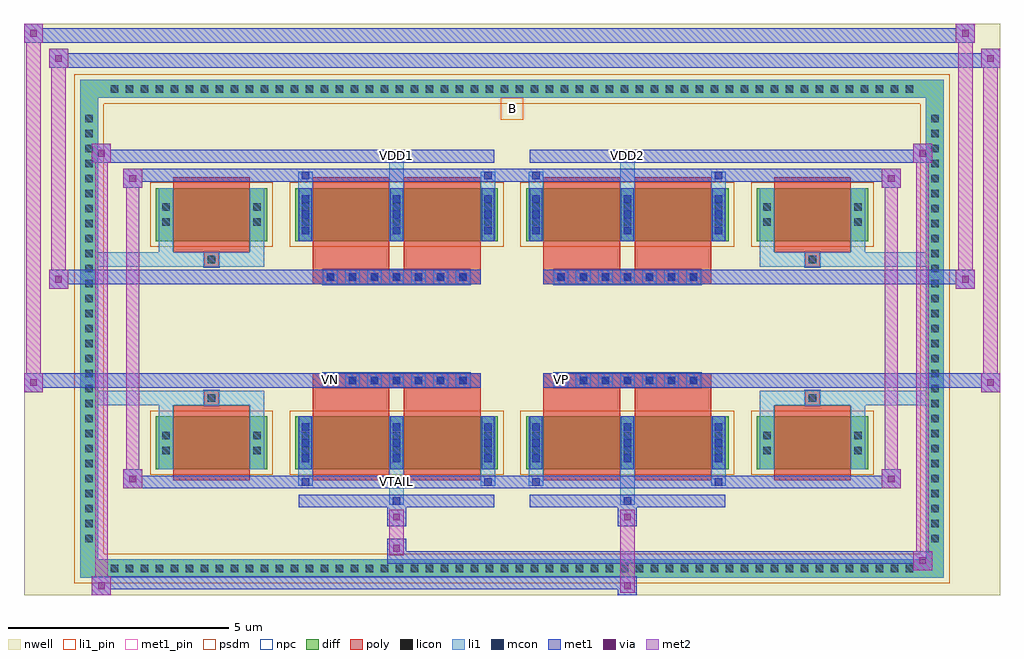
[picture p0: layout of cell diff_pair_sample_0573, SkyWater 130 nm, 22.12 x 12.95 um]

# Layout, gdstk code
import gdstk
lib = gdstk.Library(unit=1e-6, precision=5e-09)
def R(c, l, rs):  # rectangles x0, y0, x1, y1
    for r in rs: c.add(gdstk.rectangle(r[:2], r[2:], *l))
def A(c, l, x, y, w, h, nx, ny, dx, dy):  # array of equal rectangles
    R(c, l, [(x+i*dx, y+j*dy, x+i*dx+w, y+j*dy+h) for i in range(nx) for j in range(ny)])
def P(c, l, *ps):  # polygons
    for p in ps: c.add(gdstk.Polygon(p, *l))
nwell = (64, 20)
diff = (65, 20)
poly = (66, 20)
licon = (66, 44)
li1_pin = (67, 16)
li1 = (67, 20)
mcon = (67, 44)
met1_pin = (68, 16)
met1 = (68, 20)
via = (68, 44)
met2 = (69, 20)
psdm = (94, 20)
npc = (95, 20)

diff_pair_sample_0573 = lib.new_cell('diff_pair_sample_0573')
R(diff_pair_sample_0573, nwell, [(-11.06,-6.04,11.06,6.91), (-8.38,-4.23,-0.01,-0.805), (0.01,-4.23,8.38,-0.805), (-8.38,0.805,-0.01,4.23), (0.01,0.805,8.38,4.23)])
A(diff_pair_sample_0573, diff, -9.215, -5.64, 0.41, 0.41, 54, 2, 0.34, 10.87)
A(diff_pair_sample_0573, diff, -9.79, -4.965, 0.41, 0.41, 1, 29, 0, 0.34)
A(diff_pair_sample_0573, diff, 9.38, -4.965, 0.41, 0.41, 1, 29, 0, 0.34)
R(diff_pair_sample_0573, diff, [(-9.215,-5.64,9.215,-5.23), (-9.79,-4.965,-9.38,4.965), (9.38,-4.965,9.79,4.965), (-8.07,-3.185,-5.55,-1.985), (-4.91,-3.185,-0.32,-1.985), (0.32,-3.185,4.91,-1.985), (5.55,-3.185,8.07,-1.985), (-8.07,1.985,-5.55,3.185), (-4.91,1.985,-0.32,3.185), (0.32,1.985,4.91,3.185), (5.55,1.985,8.07,3.185), (-9.215,5.23,9.215,5.64)])
P(diff_pair_sample_0573, diff, [(9.79,5.64),(-9.79,5.64),(-9.79,-5.23),(-9.38,-5.23),(-9.38,5.23),(9.38,5.23),(9.38,-5.23),(-9.38,-5.23),(-9.79,-5.23),(-9.79,-5.64),(9.79,-5.64)])
A(diff_pair_sample_0573, poly, -4.28, -1.335, 0.33, 0.33, 7, 2, 0.5, 2.34)
A(diff_pair_sample_0573, poly, 0.95, -1.335, 0.33, 0.33, 7, 2, 0.5, 2.34)
R(diff_pair_sample_0573, poly, [(-7.68,-3.435,-5.94,-1.735), (-4.52,-3.435,-2.78,-1.735), (-2.45,-3.435,-0.71,-1.735), (0.71,-3.435,2.45,-1.735), (2.78,-3.435,4.52,-1.735), (5.94,-3.435,7.68,-1.735), (-6.975,-1.735,-6.645,-1.405), (-6.975,-1.735,-6.645,-1.405), (-4.52,-1.735,-2.78,-1.335), (-2.45,-1.735,-0.71,-1.335), (0.71,-1.735,2.45,-1.335), (2.78,-1.735,4.52,-1.335), (6.645,-1.735,6.975,-1.405), (6.645,-1.735,6.975,-1.405), (-4.52,-1.335,-0.71,-1.005), (0.71,-1.335,4.52,-1.005), (-4.52,1.005,-0.71,1.335), (0.71,1.005,4.52,1.335), (-4.52,1.335,-2.78,1.735), (-2.45,1.335,-0.71,1.735), (0.71,1.335,2.45,1.735), (2.78,1.335,4.52,1.735), (-6.975,1.405,-6.645,1.735), (-6.975,1.405,-6.645,1.735), (6.645,1.405,6.975,1.735), (6.645,1.405,6.975,1.735), (-7.68,1.735,-5.94,3.435), (-4.52,1.735,-2.78,3.435), (-2.45,1.735,-0.71,3.435), (0.71,1.735,2.45,3.435), (2.78,1.735,4.52,3.435), (5.94,1.735,7.68,3.435)])
A(diff_pair_sample_0573, licon, -9.095, -5.52, 0.17, 0.17, 54, 2, 0.34, 10.87)
A(diff_pair_sample_0573, licon, -9.67, -4.845, 0.17, 0.17, 1, 29, 0, 0.34)
A(diff_pair_sample_0573, licon, 9.5, -4.845, 0.17, 0.17, 1, 29, 0, 0.34)
A(diff_pair_sample_0573, licon, -4.77, -2.84, 0.17, 0.17, 3, 2, 2.07, 0.34)
A(diff_pair_sample_0573, licon, 0.46, -2.84, 0.17, 0.17, 3, 2, 2.07, 0.34)
A(diff_pair_sample_0573, licon, -4.2, -1.255, 0.17, 0.17, 7, 2, 0.5, 2.34)
A(diff_pair_sample_0573, licon, 1.03, -1.255, 0.17, 0.17, 7, 2, 0.5, 2.34)
A(diff_pair_sample_0573, licon, -4.77, 2.33, 0.17, 0.17, 3, 2, 2.07, 0.34)
A(diff_pair_sample_0573, licon, 0.46, 2.33, 0.17, 0.17, 3, 2, 2.07, 0.34)
R(diff_pair_sample_0573, licon, [(-7.93,-2.84,-7.76,-2.67), (-5.86,-2.84,-5.69,-2.67), (5.69,-2.84,5.86,-2.67), (7.76,-2.84,7.93,-2.67), (-7.93,-2.5,-7.76,-2.33), (-5.86,-2.5,-5.69,-2.33), (5.69,-2.5,5.86,-2.33), (7.76,-2.5,7.93,-2.33), (-6.895,-1.655,-6.725,-1.485), (6.725,-1.655,6.895,-1.485), (-6.895,1.485,-6.725,1.655), (6.725,1.485,6.895,1.655), (-7.93,2.33,-7.76,2.5), (-5.86,2.33,-5.69,2.5), (5.69,2.33,5.86,2.5), (7.76,2.33,7.93,2.5), (-7.93,2.67,-7.76,2.84), (-5.86,2.67,-5.69,2.84), (5.69,2.67,5.86,2.84), (7.76,2.67,7.93,2.84)])
R(diff_pair_sample_0573, li1_pin, [(-0.25,4.73,0.25,5.23)])
A(diff_pair_sample_0573, li1, -9.175, -5.6, 0.33, 0.33, 54, 2, 0.34, 10.87)
A(diff_pair_sample_0573, li1, -9.75, -4.925, 0.33, 0.33, 1, 29, 0, 0.34)
A(diff_pair_sample_0573, li1, 9.42, -4.925, 0.33, 0.33, 1, 29, 0, 0.34)
A(diff_pair_sample_0573, li1, -4.85, -3.185, 0.33, 1.2, 3, 2, 2.07, 5.17)
A(diff_pair_sample_0573, li1, 0.38, -3.185, 0.33, 1.2, 3, 2, 2.07, 5.17)
A(diff_pair_sample_0573, li1, -4.77, -3.03, 0.17, 0.17, 3, 3, 2.07, 0.36)
A(diff_pair_sample_0573, li1, -4.77, -3.03, 0.17, 0.89, 3, 2, 2.07, 5.17)
A(diff_pair_sample_0573, li1, 0.46, -3.03, 0.17, 0.17, 3, 3, 2.07, 0.36)
A(diff_pair_sample_0573, li1, 0.46, -3.03, 0.17, 0.89, 3, 2, 2.07, 5.17)
A(diff_pair_sample_0573, li1, -4.85, -2.92, 0.33, 0.33, 3, 2, 2.07, 0.34)
A(diff_pair_sample_0573, li1, 0.38, -2.92, 0.33, 0.33, 3, 2, 2.07, 0.34)
A(diff_pair_sample_0573, li1, -4.28, -1.335, 0.33, 0.33, 7, 2, 0.5, 2.34)
A(diff_pair_sample_0573, li1, 0.95, -1.335, 0.33, 0.33, 7, 2, 0.5, 2.34)
A(diff_pair_sample_0573, li1, -4.77, 2.14, 0.17, 0.17, 3, 3, 2.07, 0.36)
A(diff_pair_sample_0573, li1, 0.46, 2.14, 0.17, 0.17, 3, 3, 2.07, 0.36)
A(diff_pair_sample_0573, li1, -4.85, 2.25, 0.33, 0.33, 3, 2, 2.07, 0.34)
A(diff_pair_sample_0573, li1, 0.38, 2.25, 0.33, 0.33, 3, 2, 2.07, 0.34)
R(diff_pair_sample_0573, li1, [(-9.79,-5.64,-9.38,-5.23), (-9.79,-5.64,-9.38,-5.23), (-9.38,-5.64,9.38,-5.23), (9.38,-5.64,9.79,-5.23), (9.38,-5.64,9.79,-5.23), (-9.79,-5.23,-9.38,5.23), (9.38,-5.23,9.79,5.23), (-2.78,-3.99,-2.45,-3.185), (-2.7,-3.99,-2.53,-3.82), (2.45,-3.99,2.78,-3.185), (2.53,-3.99,2.7,-3.82), (-4.85,-3.56,-4.52,-3.185), (-4.77,-3.56,-4.6,-3.39), (-0.71,-3.56,-0.38,-3.185), (-0.63,-3.56,-0.46,-3.39), (0.38,-3.56,0.71,-3.185), (0.46,-3.56,0.63,-3.39), (4.52,-3.56,4.85,-3.185), (4.6,-3.56,4.77,-3.39), (-8.01,-3.185,-7.68,-1.985), (-5.94,-3.185,-5.61,-1.985), (5.61,-3.185,5.94,-1.985), (7.68,-3.185,8.01,-1.985), (-8.01,-2.92,-7.68,-2.59), (-5.94,-2.92,-5.61,-2.59), (5.61,-2.92,5.94,-2.59), (7.68,-2.92,8.01,-2.59), (-8.01,-2.58,-7.68,-2.25), (-5.94,-2.58,-5.61,-2.25), (5.61,-2.58,5.94,-2.25), (7.68,-2.58,8.01,-2.25), (-8.01,-1.985,-7.68,-1.405), (-5.94,-1.985,-5.61,-1.405), (5.61,-1.985,5.94,-1.405), (7.68,-1.985,8.01,-1.405), (-9.79,-1.735,-6.975,-1.405), (-8.01,-1.735,-6.975,-1.405), (-6.975,-1.735,-6.645,-1.405), (-6.645,-1.735,-5.61,-1.405), (5.61,-1.735,6.645,-1.405), (6.645,-1.735,6.975,-1.405), (6.645,-1.735,9.79,-1.405), (6.975,-1.735,8.01,-1.405), (-9.79,1.405,-6.975,1.735), (-8.01,1.405,-6.975,1.735), (-8.01,1.405,-7.68,1.985), (-6.975,1.405,-6.645,1.735), (-6.645,1.405,-5.61,1.735), (-5.94,1.405,-5.61,1.985), (5.61,1.405,6.645,1.735), (5.61,1.405,5.94,1.985), (6.645,1.405,6.975,1.735), (6.645,1.405,9.79,1.735), (6.975,1.405,8.01,1.735), (7.68,1.405,8.01,1.985), (-8.01,1.985,-7.68,3.185), (-5.94,1.985,-5.61,3.185), (5.61,1.985,5.94,3.185), (7.68,1.985,8.01,3.185), (-8.01,2.25,-7.68,2.58), (-5.94,2.25,-5.61,2.58), (5.61,2.25,5.94,2.58), (7.68,2.25,8.01,2.58), (-8.01,2.59,-7.68,2.92), (-5.94,2.59,-5.61,2.92), (5.61,2.59,5.94,2.92), (7.68,2.59,8.01,2.92), (-4.85,3.185,-4.52,3.56), (-2.78,3.185,-2.45,3.99), (-0.71,3.185,-0.38,3.56), (0.38,3.185,0.71,3.56), (2.45,3.185,2.78,3.99), (4.52,3.185,4.85,3.56), (-4.77,3.39,-4.6,3.56), (-0.63,3.39,-0.46,3.56), (0.46,3.39,0.63,3.56), (4.6,3.39,4.77,3.56), (-2.7,3.82,-2.53,3.99), (2.53,3.82,2.7,3.99), (-9.79,5.23,-9.38,5.64), (-9.79,5.23,-9.38,5.64), (-9.38,5.23,9.38,5.64), (9.38,5.23,9.79,5.64), (9.38,5.23,9.79,5.64)])
A(diff_pair_sample_0573, mcon, -4.77, -3.03, 0.17, 0.17, 3, 3, 2.07, 0.36)
A(diff_pair_sample_0573, mcon, 0.46, -3.03, 0.17, 0.17, 3, 3, 2.07, 0.36)
A(diff_pair_sample_0573, mcon, -4.2, -1.255, 0.17, 0.17, 7, 2, 0.5, 2.34)
A(diff_pair_sample_0573, mcon, 1.03, -1.255, 0.17, 0.17, 7, 2, 0.5, 2.34)
A(diff_pair_sample_0573, mcon, -4.77, 2.14, 0.17, 0.17, 3, 3, 2.07, 0.36)
A(diff_pair_sample_0573, mcon, 0.46, 2.14, 0.17, 0.17, 3, 3, 2.07, 0.36)
R(diff_pair_sample_0573, mcon, [(-2.7,-3.99,-2.53,-3.82), (2.53,-3.99,2.7,-3.82), (-4.77,-3.56,-4.6,-3.39), (-0.63,-3.56,-0.46,-3.39), (0.46,-3.56,0.63,-3.39), (4.6,-3.56,4.77,-3.39), (-4.77,3.39,-4.6,3.56), (-0.63,3.39,-0.46,3.56), (0.46,3.39,0.63,3.56), (4.6,3.39,4.77,3.56), (-2.7,3.82,-2.53,3.99), (2.53,3.82,2.7,3.99)])
R(diff_pair_sample_0573, met1_pin, [(-2.75,-3.6,-2.48,-3.33), (-4.25,-1.295,-3.98,-1.025), (0.98,-1.295,1.25,-1.025), (-2.75,3.78,-2.48,4.05), (2.48,3.78,2.75,4.05)])
A(diff_pair_sample_0573, met1, -4.83, -3.185, 0.29, 1.2, 3, 2, 2.07, 5.17)
A(diff_pair_sample_0573, met1, 0.4, -3.185, 0.29, 1.2, 3, 2, 2.07, 5.17)
A(diff_pair_sample_0573, met1, -4.83, -3.09, 0.29, 0.29, 3, 3, 2.07, 0.36)
A(diff_pair_sample_0573, met1, 0.4, -3.09, 0.29, 0.29, 3, 3, 2.07, 0.36)
A(diff_pair_sample_0573, met1, -4.26, -1.315, 0.29, 0.29, 7, 2, 0.5, 2.34)
A(diff_pair_sample_0573, met1, 0.97, -1.315, 0.29, 0.29, 7, 2, 0.5, 2.34)
A(diff_pair_sample_0573, met1, -4.83, 2.08, 0.29, 0.29, 3, 3, 2.07, 0.36)
A(diff_pair_sample_0573, met1, 0.4, 2.08, 0.29, 0.29, 3, 3, 2.07, 0.36)
R(diff_pair_sample_0573, met1, [(-9.52,-6.04,-9.09,-5.61), (2.4,-6.04,2.83,-5.61), (-9.52,-5.9,2.83,-5.61), (9.09,-5.47,9.52,-5.04), (-2.83,-5.33,9.52,-5.04), (-2.83,-5.19,-2.4,-4.76), (-2.83,-4.48,-2.4,-4.05), (2.4,-4.48,2.83,-4.05), (-4.83,-4.05,-0.4,-3.76), (-2.76,-4.05,-2.47,-3.76), (0.4,-4.05,4.83,-3.76), (2.47,-4.05,2.76,-3.76), (-8.81,-3.62,-8.38,-3.19), (-8.81,-3.62,-4.83,-3.33), (-4.83,-3.62,-4.54,-3.33), (-4.83,-3.62,-0.4,-3.33), (-0.69,-3.62,-0.4,-3.33), (-0.4,-3.62,0.4,-3.33), (0.4,-3.62,0.69,-3.33), (0.4,-3.62,4.83,-3.33), (4.54,-3.62,4.83,-3.33), (4.83,-3.62,8.81,-3.33), (8.38,-3.62,8.81,-3.19), (-11.06,-1.435,-10.63,-1.005), (10.63,-1.435,11.06,-1.005), (-11.06,-1.335,-0.71,-1.005), (-4.52,-1.335,-0.71,-1.005), (0.71,-1.335,4.52,-1.005), (0.71,-1.335,11.06,-1.005), (-10.49,0.905,-10.06,1.335), (10.06,0.905,10.49,1.335), (-10.49,1.005,-4.52,1.335), (-4.52,1.005,-0.71,1.335), (0.71,1.005,4.52,1.335), (4.52,1.005,10.49,1.335), (-8.81,3.19,-8.38,3.62), (8.38,3.19,8.81,3.62), (-8.81,3.33,-4.83,3.62), (-4.83,3.33,-4.54,3.62), (-4.83,3.33,-0.4,3.62), (-0.69,3.33,-0.4,3.62), (-0.4,3.33,0.4,3.62), (0.4,3.33,0.69,3.62), (0.4,3.33,4.83,3.62), (4.54,3.33,4.83,3.62), (4.83,3.33,8.81,3.62), (-9.52,3.76,-9.09,4.19), (-9.52,3.76,-4.83,4.05), (-4.83,3.76,-0.4,4.05), (-2.76,3.76,-2.47,4.05), (0.4,3.76,4.83,4.05), (2.47,3.76,2.76,4.05), (4.83,3.76,9.52,4.05), (9.09,3.76,9.52,4.19), (-10.49,5.91,-10.06,6.34), (-10.49,5.91,-8.38,6.24), (-8.38,5.91,8.38,6.24), (8.38,5.91,11.06,6.24), (10.63,5.91,11.06,6.34), (-11.06,6.48,-10.63,6.91), (-11.06,6.48,-8.38,6.81), (-8.38,6.48,8.38,6.81), (8.38,6.48,10.49,6.81), (10.06,6.48,10.49,6.91)])
R(diff_pair_sample_0573, via, [(-9.38,-5.9,-9.23,-5.75), (2.54,-5.9,2.69,-5.75), (9.23,-5.33,9.38,-5.18), (-2.69,-5.05,-2.54,-4.9), (-2.69,-4.34,-2.54,-4.19), (2.54,-4.34,2.69,-4.19), (-8.67,-3.48,-8.52,-3.33), (8.52,-3.48,8.67,-3.33), (-10.92,-1.295,-10.77,-1.145), (10.77,-1.295,10.92,-1.145), (-10.35,1.045,-10.2,1.195), (10.2,1.045,10.35,1.195), (-8.67,3.33,-8.52,3.48), (8.52,3.33,8.67,3.48), (-9.38,3.9,-9.23,4.05), (9.23,3.9,9.38,4.05), (-10.35,6.05,-10.2,6.2), (10.77,6.05,10.92,6.2), (-10.92,6.62,-10.77,6.77), (10.2,6.62,10.35,6.77)])
R(diff_pair_sample_0573, met2, [(-9.52,-6.04,-9.09,-5.61), (-9.45,-6.04,-9.16,4.19), (-9.16,-6.04,-9.09,-5.61), (-9.47,-5.99,-9.14,-5.66), (2.45,-5.99,2.78,-5.66), (2.45,-5.66,2.78,-4.43), (9.09,-5.47,9.52,-5.04), (9.16,-5.47,9.45,4.19), (9.45,-5.47,9.52,-5.04), (9.14,-5.42,9.47,-5.09), (-2.78,-5.14,-2.45,-4.81), (-2.78,-4.81,-2.45,-4.43), (-2.78,-4.43,-2.45,-4.1), (2.45,-4.43,2.78,-4.1), (-8.81,-3.62,-8.38,-3.19), (-8.74,-3.62,-8.45,3.62), (-8.45,-3.62,-8.38,-3.19), (8.38,-3.62,8.81,-3.19), (8.45,-3.62,8.74,3.62), (8.74,-3.62,8.81,-3.19), (-8.76,-3.57,-8.43,-3.24), (8.43,-3.57,8.76,-3.24), (-11.06,-1.435,-10.63,-1.005), (-11.01,-1.435,-10.68,6.91), (-10.68,-1.435,-10.63,-1.005), (10.63,-1.435,11.06,-1.005), (10.68,-1.435,11.01,6.34), (11.01,-1.435,11.06,-1.005), (-11.01,-1.385,-10.68,-1.055), (10.68,-1.385,11.01,-1.055), (-10.49,0.905,-10.06,1.335), (-10.44,0.905,-10.11,6.34), (-10.11,0.905,-10.06,1.335), (10.06,0.905,10.49,1.335), (10.11,0.905,10.44,6.91), (10.44,0.905,10.49,1.335), (-10.44,0.955,-10.11,1.285), (10.11,0.955,10.44,1.285), (-8.81,3.19,-8.38,3.62), (-8.45,3.19,-8.38,3.62), (8.38,3.19,8.81,3.62), (8.74,3.19,8.81,3.62), (-8.76,3.24,-8.43,3.57), (8.43,3.24,8.76,3.57), (-9.52,3.76,-9.09,4.19), (-9.16,3.76,-9.09,4.19), (9.09,3.76,9.52,4.19), (9.45,3.76,9.52,4.19), (-9.47,3.81,-9.14,4.14), (9.14,3.81,9.47,4.14), (-10.49,5.91,-10.06,6.34), (-10.11,5.91,-10.06,6.34), (10.63,5.91,11.06,6.34), (11.01,5.91,11.06,6.34), (-10.44,5.96,-10.11,6.29), (10.68,5.96,11.01,6.29), (-11.06,6.48,-10.63,6.91), (-10.68,6.48,-10.63,6.91), (10.06,6.48,10.49,6.91), (10.44,6.48,10.49,6.91), (-11.01,6.53,-10.68,6.86), (10.11,6.53,10.44,6.86)])
R(diff_pair_sample_0573, psdm, [(-8.2,-3.315,-5.42,-1.855), (-5.04,-3.315,-0.19,-1.855), (0.19,-3.315,5.04,-1.855), (5.42,-3.315,8.2,-1.855), (-8.2,1.855,-5.42,3.315), (-5.04,1.855,-0.19,3.315), (0.19,1.855,5.04,3.315), (5.42,1.855,8.2,3.315)])
P(diff_pair_sample_0573, psdm, [(9.92,5.77),(-9.92,5.77),(-9.92,-5.1),(-9.25,-5.1),(-9.25,5.1),(9.25,5.1),(9.25,-5.1),(-9.25,-5.1),(-9.92,-5.1),(-9.92,-5.77),(9.92,-5.77)])
A(diff_pair_sample_0573, npc, -4.3, -1.355, 0.37, 0.37, 7, 2, 0.5, 2.34)
A(diff_pair_sample_0573, npc, 0.93, -1.355, 0.37, 0.37, 7, 2, 0.5, 2.34)
R(diff_pair_sample_0573, npc, [(-6.995,-1.755,-6.625,-1.385), (6.625,-1.755,6.995,-1.385), (-4.3,-1.355,-3.43,-0.985), (-4.3,-1.355,-3.43,-0.985), (-3.8,-1.355,-2.93,-0.985), (-3.8,-1.355,-2.93,-0.985), (-3.3,-1.355,-2.43,-0.985), (-3.3,-1.355,-2.43,-0.985), (-2.8,-1.355,-1.93,-0.985), (-2.8,-1.355,-1.93,-0.985), (-2.3,-1.355,-1.43,-0.985), (-2.3,-1.355,-1.43,-0.985), (-1.8,-1.355,-0.93,-0.985), (-1.8,-1.355,-0.93,-0.985), (0.93,-1.355,1.8,-0.985), (0.93,-1.355,1.8,-0.985), (1.43,-1.355,2.3,-0.985), (1.43,-1.355,2.3,-0.985), (1.93,-1.355,2.8,-0.985), (1.93,-1.355,2.8,-0.985), (2.43,-1.355,3.3,-0.985), (2.43,-1.355,3.3,-0.985), (2.93,-1.355,3.8,-0.985), (2.93,-1.355,3.8,-0.985), (3.43,-1.355,4.3,-0.985), (3.43,-1.355,4.3,-0.985), (-4.3,0.985,-3.43,1.355), (-4.3,0.985,-3.43,1.355), (-3.8,0.985,-2.93,1.355), (-3.8,0.985,-2.93,1.355), (-3.3,0.985,-2.43,1.355), (-3.3,0.985,-2.43,1.355), (-2.8,0.985,-1.93,1.355), (-2.8,0.985,-1.93,1.355), (-2.3,0.985,-1.43,1.355), (-2.3,0.985,-1.43,1.355), (-1.8,0.985,-0.93,1.355), (-1.8,0.985,-0.93,1.355), (0.93,0.985,1.8,1.355), (0.93,0.985,1.8,1.355), (1.43,0.985,2.3,1.355), (1.43,0.985,2.3,1.355), (1.93,0.985,2.8,1.355), (1.93,0.985,2.8,1.355), (2.43,0.985,3.3,1.355), (2.43,0.985,3.3,1.355), (2.93,0.985,3.8,1.355), (2.93,0.985,3.8,1.355), (3.43,0.985,4.3,1.355), (3.43,0.985,4.3,1.355), (-6.995,1.385,-6.625,1.755), (6.625,1.385,6.995,1.755)])
diff_pair_sample_0573.add(gdstk.Label('VTAIL', (-2.615,-3.465), layer=68, texttype=5))
diff_pair_sample_0573.add(gdstk.Label('VN', (-4.115,-1.16), layer=68, texttype=5))
diff_pair_sample_0573.add(gdstk.Label('VP', (1.115,-1.16), layer=68, texttype=5))
diff_pair_sample_0573.add(gdstk.Label('B', (0,4.98), layer=67, texttype=5))
diff_pair_sample_0573.add(gdstk.Label('VDD2', (2.615,3.915), layer=68, texttype=5))
diff_pair_sample_0573.add(gdstk.Label('VDD1', (-2.615,3.915), layer=68, texttype=5))

lib.write_gds('diff_pair_sample_0573.gds')
